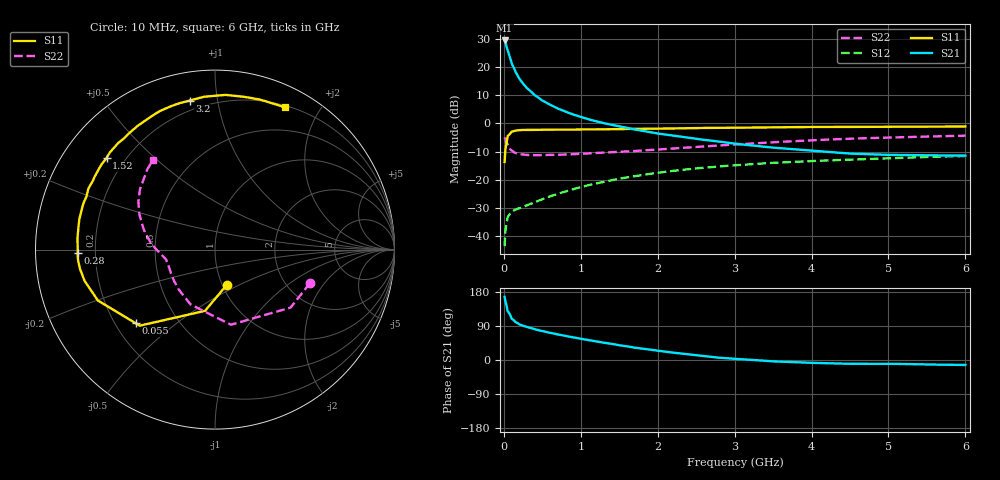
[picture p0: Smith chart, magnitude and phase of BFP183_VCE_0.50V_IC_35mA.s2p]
! Infineon Technologies  Discrete & RF Semiconductors
! BFP183
! VCE = 0.50V,  IC =  35 mA
! Common Emitter S-Parameters:  Jan 2016
# GHz  S  MA  R  50
!  f  S11  S21  S12  S22
! GHz  MAG  ANG  MAG  ANG  MAG  ANG  MAG  ANG
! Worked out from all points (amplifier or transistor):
!   210 points, 10 MHz to 6 GHz, reference 50 ohm
!   highest |S21| = 29.4 dB at 10 MHz (marker M1)
!   |S21| within 3 dB of that: start of sweep to 43.79 MHz
!   unconditionally stable (mu >= 1): start of sweep to 18.46 MHz; 185.3 MHz to end of sweep
!   at 185 MHz: K = 1.00, MSG = 23.4 dB, |S12| = -30.2 dB
!   at 1.52 GHz: K = 2.02, MAG = 3.4 dB, |S12| = -19.5 dB
!   at 6 GHz: K = 1.52, MAG = -4.2 dB, |S12| = -11.6 dB
!   S11 on the Smith chart (normalised r, x): 10 MHz: 1.05, -0.43; 55 MHz: 0.28, -0.36; 280 MHz: 0.13, -0.01; 1.52 GHz: 0.13, +0.36; 3.2 GHz: 0.15, +0.83; 6 GHz: 0.22, +1.58
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0.01  0.2081 -72.0  29.39 166.6  0.0067 69.4  0.5611 -19.4
0.02  0.3456 -99.2  27.41 154.5  0.0124 62.5  0.5309 -37.5
0.05  0.5964 -134.7  19.6 128.7  0.022 46.6  0.4278 -78.1
0.055  0.6034 -137.2  18.75 127.5  0.0225 45.1  0.4125 -80.8
0.1  0.7117 -156.5  11.73 109.4  0.0271 34.2  0.3344 -114.1
0.15  0.7474 -166.6  8.216 100.3  0.0297 33.3  0.3006 -132.1
0.2  0.7606 -172.2  6.238 94.4  0.0315 34.9  0.2872 -142.6
0.24  0.7651 -175.7  5.267 91.1  0.0328 36.0  0.2818 -148.0
0.28  0.7651 -178.5  4.539 88.3  0.0345 38.0  0.278 -152.1
0.3  0.7644 -179.7  4.217 86.8  0.0355 39.0  0.2765 -154.0
0.4  0.7688 175.5  3.174 81.0  0.0399 43.6  0.2734 -159.9
0.5  0.7709 171.1  2.536 76.2  0.0455 46.3  0.2745 -163.5
0.6  0.7747 167.2  2.14 71.6  0.051 49.2  0.2768 -166.2
0.7  0.7752 163.9  1.834 67.5  0.0566 50.7  0.2778 -168.1
1.02  0.7823 153.7  1.273 55.3  0.0753 52.6  0.2898 -172.3
1.52  0.7913 139.8  0.873 38.4  0.1059 50.2  0.3138 -177.7
2.02  0.8065 126.0  0.656 24.1  0.1345 44.9  0.3455 176.5
3.1  0.8404 101.6  0.424 1.9  0.1847 31.6  0.4304 160.7
3.2  0.8423 99.7  0.411 0.7  0.1885 30.3  0.4384 159.2
4.1  0.8634 84.7  0.322 -8.0  0.2183 19.7  0.5097 146.5
5.1  0.8727 72.4  0.276 -10.2  0.243 10.1  0.565 133.9
6  0.8827 63.9  0.269 -13.1  0.264 0.6  0.606 124.9
